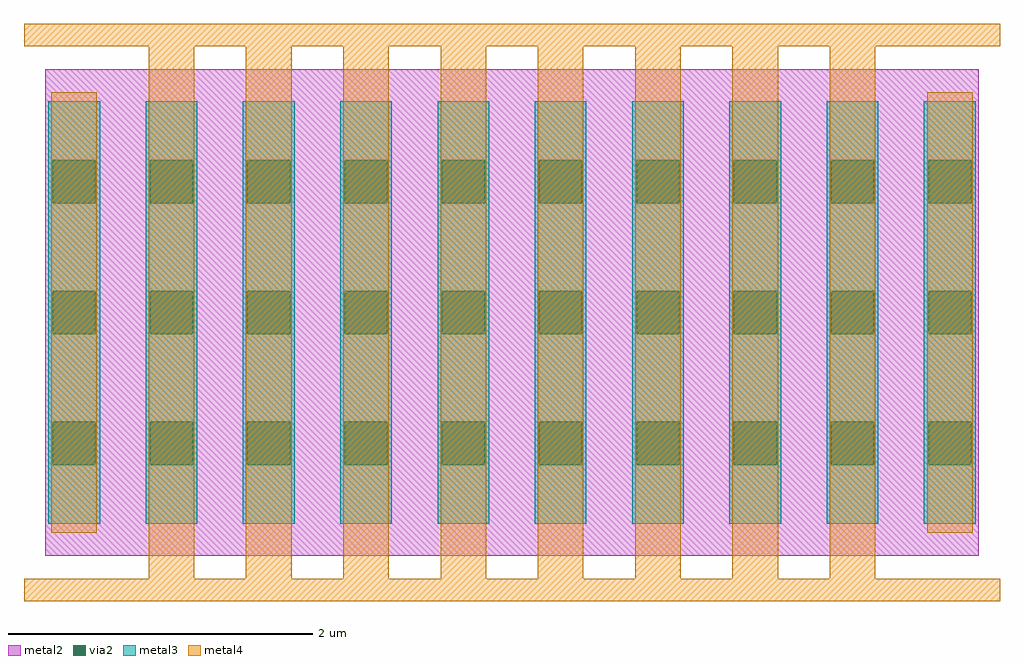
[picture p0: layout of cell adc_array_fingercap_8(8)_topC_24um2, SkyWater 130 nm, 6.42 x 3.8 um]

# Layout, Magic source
magic
tech sky130A
<< metal2 >>
rect 8 220 622 280
rect 8 192 13 220
rect 41 192 77 220
rect 105 192 141 220
rect 169 192 205 220
rect 233 192 269 220
rect 297 192 333 220
rect 361 192 397 220
rect 425 192 461 220
rect 489 192 525 220
rect 553 192 589 220
rect 617 192 622 220
rect 8 134 622 192
rect 8 106 13 134
rect 41 106 77 134
rect 105 106 141 134
rect 169 106 205 134
rect 233 106 269 134
rect 297 106 333 134
rect 361 106 397 134
rect 425 106 461 134
rect 489 106 525 134
rect 553 106 589 134
rect 617 106 622 134
rect 8 48 622 106
rect 8 20 13 48
rect 41 20 77 48
rect 105 20 141 48
rect 169 20 205 48
rect 233 20 269 48
rect 297 20 333 48
rect 361 20 397 48
rect 425 20 461 48
rect 489 20 525 48
rect 553 20 589 48
rect 617 20 622 48
rect 8 -40 622 20
<< via2 >>
rect 13 192 41 220
rect 77 192 105 220
rect 141 192 169 220
rect 205 192 233 220
rect 269 192 297 220
rect 333 192 361 220
rect 397 192 425 220
rect 461 192 489 220
rect 525 192 553 220
rect 589 192 617 220
rect 13 106 41 134
rect 77 106 105 134
rect 141 106 169 134
rect 205 106 233 134
rect 269 106 297 134
rect 333 106 361 134
rect 397 106 425 134
rect 461 106 489 134
rect 525 106 553 134
rect 589 106 617 134
rect 13 20 41 48
rect 77 20 105 48
rect 141 20 169 48
rect 205 20 233 48
rect 269 20 297 48
rect 333 20 361 48
rect 397 20 425 48
rect 461 20 489 48
rect 525 20 553 48
rect 589 20 617 48
<< metal3 >>
rect 10 220 44 259
rect 10 192 13 220
rect 41 192 44 220
rect 10 134 44 192
rect 10 106 13 134
rect 41 106 44 134
rect 10 48 44 106
rect 10 20 13 48
rect 41 20 44 48
rect 10 -19 44 20
rect 74 220 108 259
rect 74 192 77 220
rect 105 192 108 220
rect 74 134 108 192
rect 74 106 77 134
rect 105 106 108 134
rect 74 48 108 106
rect 74 20 77 48
rect 105 20 108 48
rect 74 -19 108 20
rect 138 220 172 259
rect 138 192 141 220
rect 169 192 172 220
rect 138 134 172 192
rect 138 106 141 134
rect 169 106 172 134
rect 138 48 172 106
rect 138 20 141 48
rect 169 20 172 48
rect 138 -19 172 20
rect 202 220 236 259
rect 202 192 205 220
rect 233 192 236 220
rect 202 134 236 192
rect 202 106 205 134
rect 233 106 236 134
rect 202 48 236 106
rect 202 20 205 48
rect 233 20 236 48
rect 202 -19 236 20
rect 266 220 300 259
rect 266 192 269 220
rect 297 192 300 220
rect 266 134 300 192
rect 266 106 269 134
rect 297 106 300 134
rect 266 48 300 106
rect 266 20 269 48
rect 297 20 300 48
rect 266 -19 300 20
rect 330 220 364 259
rect 330 192 333 220
rect 361 192 364 220
rect 330 134 364 192
rect 330 106 333 134
rect 361 106 364 134
rect 330 48 364 106
rect 330 20 333 48
rect 361 20 364 48
rect 330 -19 364 20
rect 394 220 428 259
rect 394 192 397 220
rect 425 192 428 220
rect 394 134 428 192
rect 394 106 397 134
rect 425 106 428 134
rect 394 48 428 106
rect 394 20 397 48
rect 425 20 428 48
rect 394 -19 428 20
rect 458 220 492 259
rect 458 192 461 220
rect 489 192 492 220
rect 458 134 492 192
rect 458 106 461 134
rect 489 106 492 134
rect 458 48 492 106
rect 458 20 461 48
rect 489 20 492 48
rect 458 -19 492 20
rect 522 220 556 259
rect 522 192 525 220
rect 553 192 556 220
rect 522 134 556 192
rect 522 106 525 134
rect 553 106 556 134
rect 522 48 556 106
rect 522 20 525 48
rect 553 20 556 48
rect 522 -19 556 20
rect 586 220 620 259
rect 586 192 589 220
rect 617 192 620 220
rect 586 134 620 192
rect 586 106 589 134
rect 617 106 620 134
rect 586 48 620 106
rect 586 20 589 48
rect 617 20 620 48
rect 586 -19 620 20
<< metal4 >>
rect -6 295 636 310
rect 12 -25 42 265
rect 76 -55 106 295
rect 140 -55 170 295
rect 204 -55 234 295
rect 268 -55 298 295
rect 332 -55 362 295
rect 396 -55 426 295
rect 460 -55 490 295
rect 524 -55 554 295
rect 588 -25 618 265
rect -6 -70 636 -55
<< end >>
